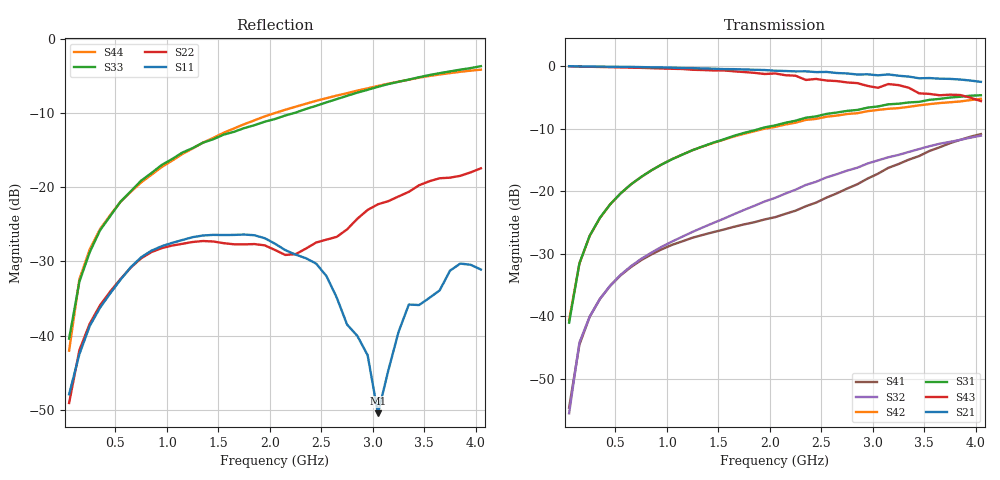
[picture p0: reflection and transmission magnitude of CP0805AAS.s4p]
! Network Analyzer HP8720D.07.14 Serial No. US38111185
! 28 Apr 1999  02:06:29
! Frequency 	S11		S21		S31		S41		S12		S22		S23		S24		S13		S23		S33		S34		S14		S24		S34		S44
# HZ  S  DB R 50
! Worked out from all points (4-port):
!   41 points, 50 MHz to 4.05 GHz, reference 50 ohm
!   strongest paths, dB at 50 MHz, 1.05 GHz, 2.05 GHz, 3.05 GHz, 4.05 GHz:
!     S21: 0.0, -0.2, -0.7, -1.4, -2.5
!     S43: 0.0, -0.4, -1.1, -3.4, -5.6
!     S31: -41.0, -14.9, -9.5, -6.4, -4.6
!     S42: -40.6, -14.9, -9.7, -7.0, -5.2
!     S32: -55.5, -28.0, -21.1, -15.1, -11.1
!     S41: -54.6, -28.6, -24.2, -17.2, -10.8
!   lowest |S11| = -50.5 dB at 3.05 GHz (marker M1), VSWR 1.01, Z = 50.2 + j0.235 ohm
!   |S11| at or under -10 dB: start of sweep to end of sweep
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5e7  -47.92 -30.7  -0.01 -1.0  -40.13 95.7  -52.70 96.8
     0.03 -1.0  -49.09 -11.2  -53.45 99.5  -40.87 89.5
     -41.02 89.6  -55.54 76.8  -40.42 61.5  -0.02 -1.6
     -54.62 97.1  -40.60 89.2  0.00 -1.6  -42.04 61.7
4.5e8  -34.32 -110.2  -0.07 -9.6  -22.05 78.6  -35.12 81.5
       -0.07 -9.7  -34.07 -95.6  -35.09 84.4  -22.07 77.8
       -22.06 78.4  -35.09 84.3  -23.90 60.4  -0.13 -14.1
       -35.11 81.5  -22.08 77.7  -0.13 -14.3  -23.77 57.6
1.75e9  -26.40 153.0  -0.50 -36.9  -10.59 46.7  -25.22 71.9
        -0.50 -36.2  -27.72 -171.2  -22.90 79.8  -10.70 43.1
        -10.65 47.8  -22.98 80.7  -12.06 -3.6  -0.96 -55.2
        -25.30 73.0  -10.80 44.1  -0.92 -56.7  -11.54 -3.2
2.55e9  -32.00 105.1  -1.00 -52.9  -7.82 25.4  -21.06 80.3
        -0.89 -52.7  -27.08 92.4  -17.99 70.4  -8.11 20.8
        -7.61 28.0  -17.77 73.0  -8.59 -57.3  -2.05 -83.1
        -21.01 83.4  -8.06 23.4  -2.27 -79.7  -8.03 -34.7
3.05e9  -50.48 51.6  -1.34 -62.7  -6.70 12.7  -17.17 78.7
        -1.44 -62.4  -22.32 41.4  -15.44 61.0  -7.06 7.9
        -6.42 16.6  -15.05 64.7  -6.50 -88.0  -2.84 -101.0
        -17.19 83.3  -6.98 12.2  -3.44 -99.3  -6.37 -59.8
3.35e9  -35.83 -126.2  -1.56 -68.7  -5.54 7.6  -14.59 76.6
        -1.64 -69.1  -20.65 20.7  -13.52 55.9  -6.23 4.2
        -5.78 8.8  -13.70 57.7  -5.52 -105.6  -3.06 -108.6
        -14.93 77.1  -6.48 5.2  -3.43 -110.9  -5.54 -76.7
4.05e9  -31.11 145.3  -2.16 -81.7  -5.16 -14.1  -10.92 50.0
        -2.48 -82.1  -17.48 -4.0  -11.90 33.7  -5.57 -17.3
        -4.63 -8.0  -11.10 39.8  -3.71 -143.7  -4.88 -142.6
        -10.85 57.0  -5.20 -10.2  -5.56 -140.3  -4.18 -117.8
